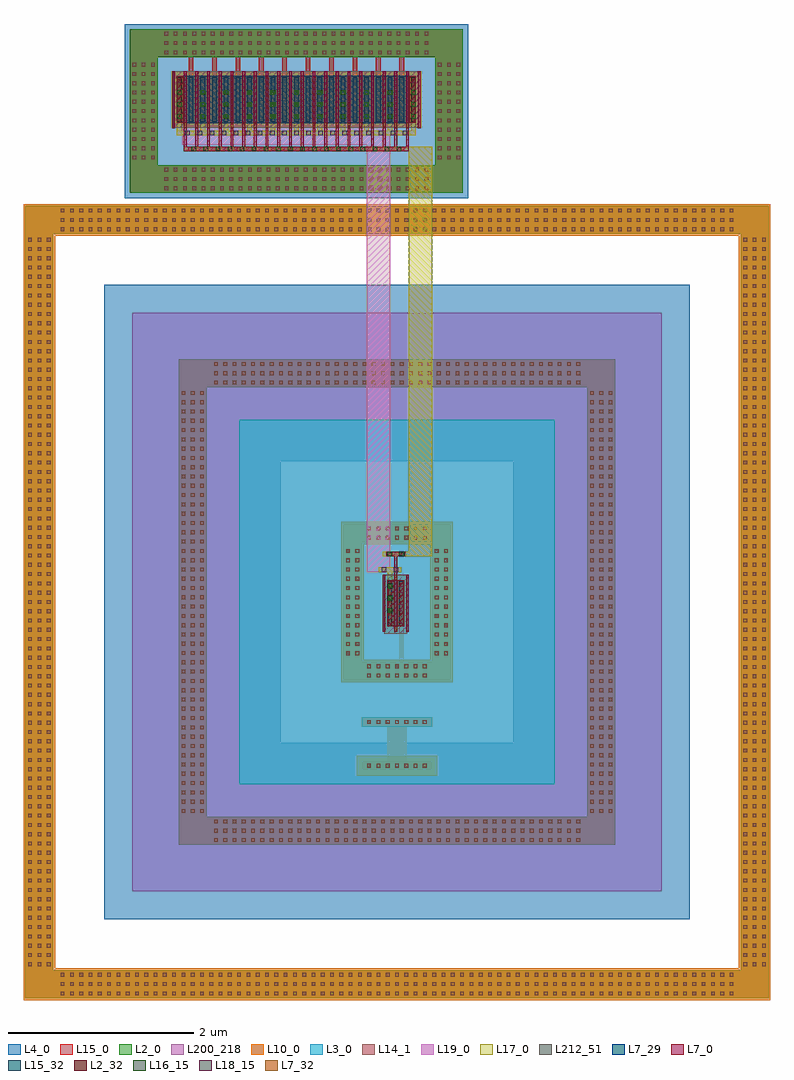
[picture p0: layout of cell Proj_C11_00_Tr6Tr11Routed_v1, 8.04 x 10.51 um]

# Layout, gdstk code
import gdstk
lib = gdstk.Library(unit=1e-6, precision=1e-09)
def R(c, l, rs):  # rectangles x0, y0, x1, y1
    for r in rs: c.add(gdstk.rectangle(r[:2], r[2:], *l))
def A(c, l, x, y, w, h, nx, ny, dx, dy):  # array of equal rectangles
    R(c, l, [(x+i*dx, y+j*dy, x+i*dx+w, y+j*dy+h) for i in range(nx) for j in range(ny)])
L2_0 = (2, 0)
L2_32 = (2, 32)
L3_0 = (3, 0)
L4_0 = (4, 0)
L7_0 = (7, 0)
L7_29 = (7, 29)
L7_32 = (7, 32)
L10_0 = (10, 0)
L14_1 = (14, 1)
L15_0 = (15, 0)
L15_32 = (15, 32)
L16_15 = (16, 15)
L17_0 = (17, 0)
L18_15 = (18, 15)
L19_0 = (19, 0)
L200_218 = (200, 218)
L212_51 = (212, 51)

proj_c11_00_tr6tr11route = lib.new_cell('Proj_C11_00_Tr6Tr11Routed_v1:SRF_Tr11:SRF_Tr11:SRF_Pmos:SRF_Source_ViaM1M2:SRF_ViaM1M2')
R(proj_c11_00_tr6tr11route, L15_0, [(0,-0.292,0.05,0.082)])
A(proj_c11_00_tr6tr11route, L16_15, 0, -0.26, 0.05, 0.05, 1, 3, 0, 0.13)
R(proj_c11_00_tr6tr11route, L17_0, [(0,-0.292,0.05,0.082)])

c_proj_c11_00_tr6tr11route = lib.new_cell('Proj_C11_00_Tr6Tr11Routed_v1:SRF_Tr11:SRF_Tr11:SRF_Pmos:SRF_Source_ViaM1M2')
c_proj_c11_00_tr6tr11route.add(gdstk.Reference(proj_c11_00_tr6tr11route, (-0.025,0.105)))

c_proj_c11_00_tr6tr11route_ = lib.new_cell('Proj_C11_00_Tr6Tr11Routed_v1:SRF_Tr11:SRF_Tr11:SRF_Pmos:SRF_Gate_ViaM0Mx:SRF_ViaM0M1')
R(c_proj_c11_00_tr6tr11route_, L7_0, [(-0.01,-0.004,1.75,0.044)])
A(c_proj_c11_00_tr6tr11route_, L14_1, 0, 0, 0.04, 0.04, 18, 1, 0.1, 0)
R(c_proj_c11_00_tr6tr11route_, L15_0, [(-0.021,-0.005,1.761,0.045)])

c_proj_c11_00_tr6tr11route__ = lib.new_cell('Proj_C11_00_Tr6Tr11Routed_v1:SRF_Tr11:SRF_Tr11:SRF_Pmos:SRF_Gate_ViaM0Mx:SRF_ViaM1M2')
R(c_proj_c11_00_tr6tr11route__, L15_0, [(-0.032,0,2.292,0.05)])
A(c_proj_c11_00_tr6tr11route__, L16_15, 0, 0, 0.05, 0.05, 18, 1, 0.13, 0)
R(c_proj_c11_00_tr6tr11route__, L17_0, [(-0.032,0,2.292,0.05)])

c_proj_c11_00_tr6tr11route___ = lib.new_cell('Proj_C11_00_Tr6Tr11Routed_v1:SRF_Tr11:SRF_Tr11:SRF_Pmos:SRF_Gate_ViaM0Mx')
c_proj_c11_00_tr6tr11route___.add(gdstk.Reference(c_proj_c11_00_tr6tr11route_, (-0.87,-0.02)))
c_proj_c11_00_tr6tr11route___.add(gdstk.Reference(c_proj_c11_00_tr6tr11route__, (-1.13,-0.025)))

c_proj_c11_00_tr6tr11route____ = lib.new_cell('Proj_C11_00_Tr6Tr11Routed_v1:SRF_Tr11:SRF_Tr11:SRF_Pmos')
R(c_proj_c11_00_tr6tr11route____, L2_0, [(-0.076,0.057,2.5,0.557)])
R(c_proj_c11_00_tr6tr11route____, L2_32, [(-0.076,0.057,0,0.557), (2.424,0.057,2.5,0.557)])
A(c_proj_c11_00_tr6tr11route____, L7_0, -0.126, 0, 0.03, 0.614, 22, 1, 0.126, 0)
A(c_proj_c11_00_tr6tr11route____, L7_0, 0, 0.614, 0.03, 0.2, 20, 1, 0.126, 0)
R(c_proj_c11_00_tr6tr11route____, L7_0, [(0,0.814,2.424,0.862)])
R(c_proj_c11_00_tr6tr11route____, L7_29, [(-0.005,0.052,2.429,0.562)])
A(c_proj_c11_00_tr6tr11route____, L7_32, 0, 0.557, 0.03, 0.057, 20, 1, 0.126, 0)
R(c_proj_c11_00_tr6tr11route____, L10_0, [(-0.132,0.001,2.556,0.613)])
A(c_proj_c11_00_tr6tr11route____, L14_1, -0.068, 0.087, 0.04, 0.04, 21, 5, 0.126, 0.1)
R(c_proj_c11_00_tr6tr11route____, L15_0, [(-0.073,0.066,-0.023,0.548), (-0.073,0.066,-0.023,0.548), (0.053,0.066,0.103,0.548), (0.053,0.066,0.103,0.548), (0.179,0.066,0.229,0.548), (0.179,0.066,0.229,0.548), (0.305,0.066,0.355,0.548), (0.305,0.066,0.355,0.548), (0.431,0.066,0.481,0.548), (0.431,0.066,0.481,0.548), (0.557,0.066,0.607,0.548), (0.557,0.066,0.607,0.548), (0.683,0.066,0.733,0.548), (0.683,0.066,0.733,0.548), (0.809,0.066,0.859,0.548), (0.809,0.066,0.859,0.548), (0.935,0.066,0.985,0.548), (0.935,0.066,0.985,0.548), (1.061,0.066,1.111,0.548), (1.061,0.066,1.111,0.548), (1.187,0.066,1.237,0.548), (1.187,0.066,1.237,0.548), (1.313,0.066,1.363,0.548), (1.313,0.066,1.363,0.548), (1.439,0.066,1.489,0.548), (1.439,0.066,1.489,0.548), (1.565,0.066,1.615,0.548), (1.565,0.066,1.615,0.548), (1.691,0.066,1.741,0.548), (1.691,0.066,1.741,0.548), (1.817,0.066,1.867,0.548), (1.817,0.066,1.867,0.548), (1.943,0.066,1.993,0.548), (1.943,0.066,1.993,0.548), (2.069,0.066,2.119,0.548), (2.069,0.066,2.119,0.548), (2.195,0.066,2.245,0.548), (2.195,0.066,2.245,0.548), (2.321,0.066,2.371,0.548), (2.321,0.066,2.371,0.548), (2.447,0.066,2.497,0.548), (2.447,0.066,2.497,0.548)])
A(c_proj_c11_00_tr6tr11route____, L15_32, -0.073, 0.066, 0.05, 0.482, 21, 1, 0.126, 0)
A(c_proj_c11_00_tr6tr11route____, L17_0, -0.073, 0.548, 0.05, 0.095, 11, 1, 0.252, 0)
R(c_proj_c11_00_tr6tr11route____, L17_0, [(-0.073,0.643,2.497,0.693), (0,0.813,2.424,0.863)])
R(c_proj_c11_00_tr6tr11route____, L212_51, [(-0.111,0.001,2.535,0.613)])
c_proj_c11_00_tr6tr11route____.add(gdstk.Reference(c_proj_c11_00_tr6tr11route, (-0.048,0.361)))
c_proj_c11_00_tr6tr11route____.add(gdstk.Reference(c_proj_c11_00_tr6tr11route, (0.204,0.361)))
c_proj_c11_00_tr6tr11route____.add(gdstk.Reference(c_proj_c11_00_tr6tr11route, (0.456,0.361)))
c_proj_c11_00_tr6tr11route____.add(gdstk.Reference(c_proj_c11_00_tr6tr11route, (0.708,0.361)))
c_proj_c11_00_tr6tr11route____.add(gdstk.Reference(c_proj_c11_00_tr6tr11route, (0.96,0.361)))
c_proj_c11_00_tr6tr11route____.add(gdstk.Reference(c_proj_c11_00_tr6tr11route, (1.212,0.361)))
c_proj_c11_00_tr6tr11route____.add(gdstk.Reference(c_proj_c11_00_tr6tr11route, (1.464,0.361)))
c_proj_c11_00_tr6tr11route____.add(gdstk.Reference(c_proj_c11_00_tr6tr11route, (1.716,0.361)))
c_proj_c11_00_tr6tr11route____.add(gdstk.Reference(c_proj_c11_00_tr6tr11route, (1.968,0.361)))
c_proj_c11_00_tr6tr11route____.add(gdstk.Reference(c_proj_c11_00_tr6tr11route, (2.22,0.361)))
c_proj_c11_00_tr6tr11route____.add(gdstk.Reference(c_proj_c11_00_tr6tr11route, (2.472,0.361)))
c_proj_c11_00_tr6tr11route____.add(gdstk.Reference(c_proj_c11_00_tr6tr11route___, (1.212,0.838)))

c_proj_c11_00_tr6tr11route_____ = lib.new_cell('Proj_C11_00_Tr6Tr11Routed_v1:SRF_Tr11:SRF_Tr11:SRF_Source_ViaM2M3:SRF_ViaM2M3')
R(c_proj_c11_00_tr6tr11route_____, L17_0, [(-0.032,0,2.422,0.05)])
A(c_proj_c11_00_tr6tr11route_____, L18_15, 0, 0, 0.05, 0.05, 19, 1, 0.13, 0)
R(c_proj_c11_00_tr6tr11route_____, L19_0, [(-0.032,0,2.422,0.05)])

c_proj_c11_00_tr6tr11route______ = lib.new_cell('Proj_C11_00_Tr6Tr11Routed_v1:SRF_Tr11:SRF_Tr11:SRF_Source_ViaM2M3')
c_proj_c11_00_tr6tr11route______.add(gdstk.Reference(c_proj_c11_00_tr6tr11route_____, (-1.195,-0.025)))

c_proj_c11_00_tr6tr11route_______ = lib.new_cell('Proj_C11_00_Tr6Tr11Routed_v1:SRF_Tr11:SRF_Tr11')
R(c_proj_c11_00_tr6tr11route_______, L19_0, [(-0.073,0.643,2.497,0.693)])
c_proj_c11_00_tr6tr11route_______.add(gdstk.Reference(c_proj_c11_00_tr6tr11route____, (0,0)))
c_proj_c11_00_tr6tr11route_______.add(gdstk.Reference(c_proj_c11_00_tr6tr11route______, (1.212,0.668)))

c_proj_c11_00_tr6tr11route________ = lib.new_cell('Proj_C11_00_Tr6Tr11Routed_v1:SRF_Tr11:_Nbodyring:SRF_NbodyTop:SRF_NbodyContactPhyLen')
R(c_proj_c11_00_tr6tr11route________, L2_0, [(-0.074,-0.23,2.914,0.07)])
R(c_proj_c11_00_tr6tr11route________, L4_0, [(-0.13,-0.286,2.97,0.126)])
A(c_proj_c11_00_tr6tr11route________, L14_1, 0, -0.2, 0.04, 0.04, 29, 3, 0.1, 0.1)
R(c_proj_c11_00_tr6tr11route________, L15_0, [(-0.074,-0.23,2.914,0.07)])

c_proj_c11_00_tr6tr11route_________ = lib.new_cell('Proj_C11_00_Tr6Tr11Routed_v1:SRF_Tr11:_Nbodyring:SRF_NbodyTop')
c_proj_c11_00_tr6tr11route_________.add(gdstk.Reference(c_proj_c11_00_tr6tr11route________, (0,0)))

c_proj_c11_00_tr6tr11route__________ = lib.new_cell('Proj_C11_00_Tr6Tr11Routed_v1:SRF_Tr11:_Nbodyring:SRF_NbodyBottom:SRF_NbodyContactPhyLen')
R(c_proj_c11_00_tr6tr11route__________, L2_0, [(-0.074,-0.23,2.914,0.07)])
R(c_proj_c11_00_tr6tr11route__________, L4_0, [(-0.13,-0.286,2.97,0.126)])
A(c_proj_c11_00_tr6tr11route__________, L14_1, 0, -0.2, 0.04, 0.04, 29, 3, 0.1, 0.1)
R(c_proj_c11_00_tr6tr11route__________, L15_0, [(-0.074,-0.23,2.914,0.07)])

c_proj_c11_00_tr6tr11route___________ = lib.new_cell('Proj_C11_00_Tr6Tr11Routed_v1:SRF_Tr11:_Nbodyring:SRF_NbodyBottom')
c_proj_c11_00_tr6tr11route___________.add(gdstk.Reference(c_proj_c11_00_tr6tr11route__________, (0,0)))

c_proj_c11_00_tr6tr11route____________ = lib.new_cell('Proj_C11_00_Tr6Tr11Routed_v1:SRF_Tr11:_Nbodyring:SRF_NbodyLeft:SRF_NbodyContactPhyLen')
R(c_proj_c11_00_tr6tr11route____________, L2_0, [(-0.03,-1.062,0.27,0.101)])
R(c_proj_c11_00_tr6tr11route____________, L4_0, [(-0.086,-1.118,0.326,0.157)])
A(c_proj_c11_00_tr6tr11route____________, L14_1, 0, -1, 0.04, 0.04, 3, 11, 0.1, 0.1)
R(c_proj_c11_00_tr6tr11route____________, L15_0, [(-0.03,-1.062,0.27,0.101)])

c_proj_c11_00_tr6tr11route_____________ = lib.new_cell('Proj_C11_00_Tr6Tr11Routed_v1:SRF_Tr11:_Nbodyring:SRF_NbodyLeft')
c_proj_c11_00_tr6tr11route_____________.add(gdstk.Reference(c_proj_c11_00_tr6tr11route____________, (0,0)))

c_proj_c11_00_tr6tr11route______________ = lib.new_cell('Proj_C11_00_Tr6Tr11Routed_v1:SRF_Tr11:_Nbodyring:SRF_NbodyRight:SRF_NbodyContactPhyLen')
R(c_proj_c11_00_tr6tr11route______________, L2_0, [(-0.03,-1.062,0.27,0.101)])
R(c_proj_c11_00_tr6tr11route______________, L4_0, [(-0.086,-1.118,0.326,0.157)])
A(c_proj_c11_00_tr6tr11route______________, L14_1, 0, -1, 0.04, 0.04, 3, 11, 0.1, 0.1)
R(c_proj_c11_00_tr6tr11route______________, L15_0, [(-0.03,-1.062,0.27,0.101)])

c_proj_c11_00_tr6tr11route_______________ = lib.new_cell('Proj_C11_00_Tr6Tr11Routed_v1:SRF_Tr11:_Nbodyring:SRF_NbodyRight')
c_proj_c11_00_tr6tr11route_______________.add(gdstk.Reference(c_proj_c11_00_tr6tr11route______________, (0,0)))

c_proj_c11_00_tr6tr11route________________ = lib.new_cell('Proj_C11_00_Tr6Tr11Routed_v1:SRF_Tr11:_Nbodyring')
R(c_proj_c11_00_tr6tr11route________________, L2_0, [(-0.374,-1.693,3.214,-1.393), (-0.374,-1.693,-0.074,0.07), (2.914,-1.693,3.214,0.07), (-0.374,-0.23,3.214,0.07)])
R(c_proj_c11_00_tr6tr11route________________, L4_0, [(-0.43,-1.749,3.27,-1.337), (-0.43,-1.749,-0.018,0.126), (2.858,-1.749,3.27,0.126), (-0.43,-0.286,3.27,0.126)])
R(c_proj_c11_00_tr6tr11route________________, L15_0, [(-0.374,-1.693,3.214,-1.393), (-0.374,-1.693,-0.074,0.07), (2.914,-1.693,3.214,0.07), (-0.374,-0.23,3.214,0.07)])
c_proj_c11_00_tr6tr11route________________.add(gdstk.Reference(c_proj_c11_00_tr6tr11route_________, (0,0)))
c_proj_c11_00_tr6tr11route________________.add(gdstk.Reference(c_proj_c11_00_tr6tr11route___________, (0,-1.463)))
c_proj_c11_00_tr6tr11route________________.add(gdstk.Reference(c_proj_c11_00_tr6tr11route_____________, (-0.344,-0.331)))
c_proj_c11_00_tr6tr11route________________.add(gdstk.Reference(c_proj_c11_00_tr6tr11route_______________, (2.944,-0.331)))

c_proj_c11_00_tr6tr11route_________________ = lib.new_cell('Proj_C11_00_Tr6Tr11Routed_v1:SRF_Tr11')
R(c_proj_c11_00_tr6tr11route_________________, L4_0, [(-0.638,-0.506,3.062,1.369)])
A(c_proj_c11_00_tr6tr11route_________________, L15_0, 0.053, -0.15, 0.05, 0.216, 10, 1, 0.252, 0)
c_proj_c11_00_tr6tr11route_________________.add(gdstk.Reference(c_proj_c11_00_tr6tr11route_______, (0,0)))
c_proj_c11_00_tr6tr11route_________________.add(gdstk.Reference(c_proj_c11_00_tr6tr11route________________, (-0.208,1.243)))

c_proj_c11_00_tr6tr11route__________________ = lib.new_cell('Proj_C11_00_Tr6Tr11Routed_v1:SRF_Tr6:SRF_Tr6:SRF_Nmos:SRF_Source_ViaM1M2:SRF_ViaM1M2')
R(c_proj_c11_00_tr6tr11route__________________, L15_0, [(0,-0.292,0.05,0.082)])
A(c_proj_c11_00_tr6tr11route__________________, L16_15, 0, -0.26, 0.05, 0.05, 1, 3, 0, 0.13)
R(c_proj_c11_00_tr6tr11route__________________, L17_0, [(0,-0.292,0.05,0.082)])

c_proj_c11_00_tr6tr11route___________________ = lib.new_cell('Proj_C11_00_Tr6Tr11Routed_v1:SRF_Tr6:SRF_Tr6:SRF_Nmos:SRF_Source_ViaM1M2')
c_proj_c11_00_tr6tr11route___________________.add(gdstk.Reference(c_proj_c11_00_tr6tr11route__________________, (-0.025,0.105)))

c_proj_c11_00_tr6tr11route____________________ = lib.new_cell('Proj_C11_00_Tr6Tr11Routed_v1:SRF_Tr6:SRF_Tr6:SRF_Nmos:SRF_Gate_ViaM0Mx:SRF_ViaM0M1')
R(c_proj_c11_00_tr6tr11route____________________, L7_0, [(-0.01,-0.004,0.15,0.044)])
R(c_proj_c11_00_tr6tr11route____________________, L14_1, [(0,0,0.04,0.04), (0.1,0,0.14,0.04)])
R(c_proj_c11_00_tr6tr11route____________________, L15_0, [(-0.021,-0.005,0.161,0.045)])

c_proj_c11_00_tr6tr11route_____________________ = lib.new_cell('Proj_C11_00_Tr6Tr11Routed_v1:SRF_Tr6:SRF_Tr6:SRF_Nmos:SRF_Gate_ViaM0Mx:SRF_ViaM1M2')
R(c_proj_c11_00_tr6tr11route_____________________, L15_0, [(-0.032,0,0.212,0.05)])
R(c_proj_c11_00_tr6tr11route_____________________, L16_15, [(0,0,0.05,0.05), (0.13,0,0.18,0.05)])
R(c_proj_c11_00_tr6tr11route_____________________, L17_0, [(-0.032,0,0.212,0.05)])

c_proj_c11_00_tr6tr11route______________________ = lib.new_cell('Proj_C11_00_Tr6Tr11Routed_v1:SRF_Tr6:SRF_Tr6:SRF_Nmos:SRF_Gate_ViaM0Mx')
c_proj_c11_00_tr6tr11route______________________.add(gdstk.Reference(c_proj_c11_00_tr6tr11route____________________, (-0.07,-0.02)))
c_proj_c11_00_tr6tr11route______________________.add(gdstk.Reference(c_proj_c11_00_tr6tr11route_____________________, (-0.09,-0.025)))

c_proj_c11_00_tr6tr11route_______________________ = lib.new_cell('Proj_C11_00_Tr6Tr11Routed_v1:SRF_Tr6:SRF_Tr6:SRF_Nmos')
R(c_proj_c11_00_tr6tr11route_______________________, L2_0, [(-0.076,0.057,0.106,0.557)])
R(c_proj_c11_00_tr6tr11route_______________________, L2_32, [(-0.076,0.057,0,0.557), (0.03,0.057,0.106,0.557)])
A(c_proj_c11_00_tr6tr11route_______________________, L7_0, -0.126, 0, 0.03, 0.614, 3, 1, 0.126, 0)
R(c_proj_c11_00_tr6tr11route_______________________, L7_0, [(0,0.614,0.03,0.814), (-0.085,0.814,0.115,0.862)])
R(c_proj_c11_00_tr6tr11route_______________________, L7_29, [(-0.005,0.052,0.035,0.562)])
R(c_proj_c11_00_tr6tr11route_______________________, L7_32, [(0,0,0.03,0.057), (0,0.557,0.03,0.614)])
A(c_proj_c11_00_tr6tr11route_______________________, L14_1, -0.068, 0.087, 0.04, 0.04, 1, 5, 0, 0.1)
A(c_proj_c11_00_tr6tr11route_______________________, L14_1, 0.058, 0.087, 0.04, 0.04, 1, 5, 0, 0.1)
R(c_proj_c11_00_tr6tr11route_______________________, L15_0, [(-0.073,0.066,-0.023,0.548), (-0.073,0.066,-0.023,0.548), (0.053,0.066,0.103,0.548), (0.053,0.066,0.103,0.548)])
R(c_proj_c11_00_tr6tr11route_______________________, L15_32, [(-0.073,0.066,-0.023,0.548), (0.053,0.066,0.103,0.548)])
R(c_proj_c11_00_tr6tr11route_______________________, L17_0, [(-0.073,0.548,-0.023,0.643), (-0.073,0.643,-0.023,0.693), (-0.127,0.813,0.157,0.863)])
R(c_proj_c11_00_tr6tr11route_______________________, L212_51, [(-0.111,-0.022,0.141,0.613)])
c_proj_c11_00_tr6tr11route_______________________.add(gdstk.Reference(c_proj_c11_00_tr6tr11route___________________, (-0.048,0.361)))
c_proj_c11_00_tr6tr11route_______________________.add(gdstk.Reference(c_proj_c11_00_tr6tr11route______________________, (0.015,0.838)))

c_proj_c11_00_tr6tr11route________________________ = lib.new_cell('Proj_C11_00_Tr6Tr11Routed_v1:SRF_Tr6:SRF_Tr6:SRF_Source_ViaM2M3:SRF_ViaM2M3')
R(c_proj_c11_00_tr6tr11route________________________, L17_0, [(-0.032,0,0.212,0.05)])
R(c_proj_c11_00_tr6tr11route________________________, L18_15, [(0,0,0.05,0.05), (0.13,0,0.18,0.05)])
R(c_proj_c11_00_tr6tr11route________________________, L19_0, [(-0.032,0,0.212,0.05)])

c_proj_c11_00_tr6tr11route_________________________ = lib.new_cell('Proj_C11_00_Tr6Tr11Routed_v1:SRF_Tr6:SRF_Tr6:SRF_Source_ViaM2M3')
c_proj_c11_00_tr6tr11route_________________________.add(gdstk.Reference(c_proj_c11_00_tr6tr11route________________________, (-0.09,-0.025)))

c_proj_c11_00_tr6tr11route__________________________ = lib.new_cell('Proj_C11_00_Tr6Tr11Routed_v1:SRF_Tr6:SRF_Tr6')
R(c_proj_c11_00_tr6tr11route__________________________, L19_0, [(-0.073,0.643,-0.023,0.693)])
c_proj_c11_00_tr6tr11route__________________________.add(gdstk.Reference(c_proj_c11_00_tr6tr11route_______________________, (0,0)))
c_proj_c11_00_tr6tr11route__________________________.add(gdstk.Reference(c_proj_c11_00_tr6tr11route_________________________, (-0.048,0.668)))

c_proj_c11_00_tr6tr11route___________________________ = lib.new_cell('Proj_C11_00_Tr6Tr11Routed_v1:SRF_Tr6:SRF_Pbodyring:SRF_PbodyTop:SRF_PbodyContactPhyLen')
R(c_proj_c11_00_tr6tr11route___________________________, L2_0, [(-0.058,-0.13,0.699,0.07)])
R(c_proj_c11_00_tr6tr11route___________________________, L10_0, [(-0.08,-0.151,0.719,0.091)])
A(c_proj_c11_00_tr6tr11route___________________________, L14_1, 0, -0.1, 0.04, 0.04, 7, 2, 0.1, 0.1)
R(c_proj_c11_00_tr6tr11route___________________________, L15_0, [(-0.058,-0.13,0.699,0.07)])

c_proj_c11_00_tr6tr11route____________________________ = lib.new_cell('Proj_C11_00_Tr6Tr11Routed_v1:SRF_Tr6:SRF_Pbodyring:SRF_PbodyTop')
c_proj_c11_00_tr6tr11route____________________________.add(gdstk.Reference(c_proj_c11_00_tr6tr11route___________________________, (0,0)))

c_proj_c11_00_tr6tr11route_____________________________ = lib.new_cell('Proj_C11_00_Tr6Tr11Routed_v1:SRF_Tr6:SRF_Pbodyring:SRF_PbodyBottom:SRF_PbodyContactPhyLen')
R(c_proj_c11_00_tr6tr11route_____________________________, L2_0, [(-0.058,-0.13,0.699,0.07)])
R(c_proj_c11_00_tr6tr11route_____________________________, L10_0, [(-0.08,-0.151,0.719,0.091)])
A(c_proj_c11_00_tr6tr11route_____________________________, L14_1, 0, -0.1, 0.04, 0.04, 7, 2, 0.1, 0.1)
R(c_proj_c11_00_tr6tr11route_____________________________, L15_0, [(-0.058,-0.13,0.699,0.07)])

c_proj_c11_00_tr6tr11route______________________________ = lib.new_cell('Proj_C11_00_Tr6Tr11Routed_v1:SRF_Tr6:SRF_Pbodyring:SRF_PbodyBottom')
c_proj_c11_00_tr6tr11route______________________________.add(gdstk.Reference(c_proj_c11_00_tr6tr11route_____________________________, (0,0)))

c_proj_c11_00_tr6tr11route_______________________________ = lib.new_cell('Proj_C11_00_Tr6Tr11Routed_v1:SRF_Tr6:SRF_Pbodyring:SRF_PbodyLeft:SRF_PbodyContactPhyLen')
R(c_proj_c11_00_tr6tr11route_______________________________, L2_0, [(-0.03,-1.172,0.17,0.113)])
R(c_proj_c11_00_tr6tr11route_______________________________, L10_0, [(-0.051,-1.194,0.191,0.133)])
A(c_proj_c11_00_tr6tr11route_______________________________, L14_1, 0, -1.1, 0.04, 0.04, 1, 12, 0, 0.1)
A(c_proj_c11_00_tr6tr11route_______________________________, L14_1, 0.1, -1.1, 0.04, 0.04, 1, 12, 0, 0.1)
R(c_proj_c11_00_tr6tr11route_______________________________, L15_0, [(-0.03,-1.172,0.17,0.113)])

c_proj_c11_00_tr6tr11route________________________________ = lib.new_cell('Proj_C11_00_Tr6Tr11Routed_v1:SRF_Tr6:SRF_Pbodyring:SRF_PbodyLeft')
c_proj_c11_00_tr6tr11route________________________________.add(gdstk.Reference(c_proj_c11_00_tr6tr11route_______________________________, (0,0)))

c_proj_c11_00_tr6tr11route_________________________________ = lib.new_cell('Proj_C11_00_Tr6Tr11Routed_v1:SRF_Tr6:SRF_Pbodyring:SRF_PbodyRight:SRF_PbodyContactPhyLen')
R(c_proj_c11_00_tr6tr11route_________________________________, L2_0, [(-0.03,-1.172,0.17,0.113)])
R(c_proj_c11_00_tr6tr11route_________________________________, L10_0, [(-0.051,-1.194,0.191,0.133)])
A(c_proj_c11_00_tr6tr11route_________________________________, L14_1, 0, -1.1, 0.04, 0.04, 1, 12, 0, 0.1)
A(c_proj_c11_00_tr6tr11route_________________________________, L14_1, 0.1, -1.1, 0.04, 0.04, 1, 12, 0, 0.1)
R(c_proj_c11_00_tr6tr11route_________________________________, L15_0, [(-0.03,-1.172,0.17,0.113)])

c_proj_c11_00_tr6tr11route__________________________________ = lib.new_cell('Proj_C11_00_Tr6Tr11Routed_v1:SRF_Tr6:SRF_Pbodyring:SRF_PbodyRight')
c_proj_c11_00_tr6tr11route__________________________________.add(gdstk.Reference(c_proj_c11_00_tr6tr11route_________________________________, (0,0)))

c_proj_c11_00_tr6tr11route___________________________________ = lib.new_cell('Proj_C11_00_Tr6Tr11Routed_v1:SRF_Tr6:SRF_Pbodyring')
R(c_proj_c11_00_tr6tr11route___________________________________, L2_0, [(-0.258,-1.615,0.899,-1.415), (-0.258,-1.615,-0.058,0.07), (0.699,-1.615,0.899,0.07), (-0.258,-0.13,0.899,0.07)])
R(c_proj_c11_00_tr6tr11route___________________________________, L10_0, [(-0.279,-1.636,0.92,-1.394), (-0.279,-1.636,-0.037,0.091), (0.678,-1.636,0.92,0.091), (-0.279,-0.151,0.92,0.091)])
R(c_proj_c11_00_tr6tr11route___________________________________, L15_0, [(-0.258,-1.615,0.899,-1.415), (-0.258,-1.615,-0.058,0.07), (0.699,-1.615,0.899,0.07), (-0.258,-0.13,0.899,0.07)])
c_proj_c11_00_tr6tr11route___________________________________.add(gdstk.Reference(c_proj_c11_00_tr6tr11route____________________________, (0,0)))
c_proj_c11_00_tr6tr11route___________________________________.add(gdstk.Reference(c_proj_c11_00_tr6tr11route______________________________, (0,-1.485)))
c_proj_c11_00_tr6tr11route___________________________________.add(gdstk.Reference(c_proj_c11_00_tr6tr11route________________________________, (-0.228,-0.243)))
c_proj_c11_00_tr6tr11route___________________________________.add(gdstk.Reference(c_proj_c11_00_tr6tr11route__________________________________, (0.729,-0.243)))

c_proj_c11_00_tr6tr11route____________________________________ = lib.new_cell('Proj_C11_00_Tr6Tr11Routed_v1:SRF_Tr6:SRF_Nbody_withinPIsolated:SRF_NbodyContactPhyLen')
R(c_proj_c11_00_tr6tr11route____________________________________, L2_0, [(-0.058,-0.03,0.699,0.07)])
A(c_proj_c11_00_tr6tr11route____________________________________, L14_1, 0, 0, 0.04, 0.04, 7, 1, 0.1, 0)
R(c_proj_c11_00_tr6tr11route____________________________________, L15_0, [(-0.058,-0.03,0.699,0.07)])

c_proj_c11_00_tr6tr11route_____________________________________ = lib.new_cell('Proj_C11_00_Tr6Tr11Routed_v1:SRF_Tr6:SRF_Nbody_withinPIsolated')
c_proj_c11_00_tr6tr11route_____________________________________.add(gdstk.Reference(c_proj_c11_00_tr6tr11route____________________________________, (0,0)))

c_proj_c11_00_tr6tr11route______________________________________ = lib.new_cell('Proj_C11_00_Tr6Tr11Routed_v1:SRF_Tr6:SRF_Nbodyring:SRF_NbodyTop:SRF_NbodyContactPhyLen')
R(c_proj_c11_00_tr6tr11route______________________________________, L2_0, [(-0.08,-0.23,4.019,0.07)])
R(c_proj_c11_00_tr6tr11route______________________________________, L4_0, [(-0.88,-1.03,4.819,0.87)])
A(c_proj_c11_00_tr6tr11route______________________________________, L14_1, 0, -0.2, 0.04, 0.04, 40, 3, 0.1, 0.1)
R(c_proj_c11_00_tr6tr11route______________________________________, L15_0, [(-0.08,-0.23,4.019,0.07)])

c_proj_c11_00_tr6tr11route_______________________________________ = lib.new_cell('Proj_C11_00_Tr6Tr11Routed_v1:SRF_Tr6:SRF_Nbodyring:SRF_NbodyTop')
c_proj_c11_00_tr6tr11route_______________________________________.add(gdstk.Reference(c_proj_c11_00_tr6tr11route______________________________________, (0,0)))

c_proj_c11_00_tr6tr11route________________________________________ = lib.new_cell('Proj_C11_00_Tr6Tr11Routed_v1:SRF_Tr6:SRF_Nbodyring:SRF_NbodyBottom:SRF_NbodyContactPhyLen')
R(c_proj_c11_00_tr6tr11route________________________________________, L2_0, [(-0.08,-0.23,4.019,0.07)])
R(c_proj_c11_00_tr6tr11route________________________________________, L4_0, [(-0.88,-1.03,4.819,0.87)])
A(c_proj_c11_00_tr6tr11route________________________________________, L14_1, 0, -0.2, 0.04, 0.04, 40, 3, 0.1, 0.1)
R(c_proj_c11_00_tr6tr11route________________________________________, L15_0, [(-0.08,-0.23,4.019,0.07)])

c_proj_c11_00_tr6tr11route_________________________________________ = lib.new_cell('Proj_C11_00_Tr6Tr11Routed_v1:SRF_Tr6:SRF_Nbodyring:SRF_NbodyBottom')
c_proj_c11_00_tr6tr11route_________________________________________.add(gdstk.Reference(c_proj_c11_00_tr6tr11route________________________________________, (0,0)))

c_proj_c11_00_tr6tr11route__________________________________________ = lib.new_cell('Proj_C11_00_Tr6Tr11Routed_v1:SRF_Tr6:SRF_Nbodyring:SRF_NbodyLeft:SRF_NbodyContactPhyLen')
R(c_proj_c11_00_tr6tr11route__________________________________________, L2_0, [(-0.03,-4.544,0.27,0.083)])
R(c_proj_c11_00_tr6tr11route__________________________________________, L4_0, [(-0.83,-5.344,1.07,0.883)])
A(c_proj_c11_00_tr6tr11route__________________________________________, L14_1, 0, -4.5, 0.04, 0.04, 3, 46, 0.1, 0.1)
R(c_proj_c11_00_tr6tr11route__________________________________________, L15_0, [(-0.03,-4.544,0.27,0.083)])

c_proj_c11_00_tr6tr11route___________________________________________ = lib.new_cell('Proj_C11_00_Tr6Tr11Routed_v1:SRF_Tr6:SRF_Nbodyring:SRF_NbodyLeft')
c_proj_c11_00_tr6tr11route___________________________________________.add(gdstk.Reference(c_proj_c11_00_tr6tr11route__________________________________________, (0,0)))

c_proj_c11_00_tr6tr11route____________________________________________ = lib.new_cell('Proj_C11_00_Tr6Tr11Routed_v1:SRF_Tr6:SRF_Nbodyring:SRF_NbodyRight:SRF_NbodyContactPhyLen')
R(c_proj_c11_00_tr6tr11route____________________________________________, L2_0, [(-0.03,-4.544,0.27,0.083)])
R(c_proj_c11_00_tr6tr11route____________________________________________, L4_0, [(-0.83,-5.344,1.07,0.883)])
A(c_proj_c11_00_tr6tr11route____________________________________________, L14_1, 0, -4.5, 0.04, 0.04, 3, 46, 0.1, 0.1)
R(c_proj_c11_00_tr6tr11route____________________________________________, L15_0, [(-0.03,-4.544,0.27,0.083)])

c_proj_c11_00_tr6tr11route_____________________________________________ = lib.new_cell('Proj_C11_00_Tr6Tr11Routed_v1:SRF_Tr6:SRF_Nbodyring:SRF_NbodyRight')
c_proj_c11_00_tr6tr11route_____________________________________________.add(gdstk.Reference(c_proj_c11_00_tr6tr11route____________________________________________, (0,0)))

c_proj_c11_00_tr6tr11route______________________________________________ = lib.new_cell('Proj_C11_00_Tr6Tr11Routed_v1:SRF_Tr6:SRF_Nbodyring')
R(c_proj_c11_00_tr6tr11route______________________________________________, L2_0, [(-0.38,-5.157,4.319,-4.857), (-0.38,-5.157,-0.08,0.07), (4.019,-5.157,4.319,0.07), (-0.38,-0.23,4.319,0.07)])
R(c_proj_c11_00_tr6tr11route______________________________________________, L4_0, [(-1.18,-5.957,5.119,-4.057), (-1.18,-5.957,0.72,0.87), (3.219,-5.957,5.119,0.87), (-1.18,-1.03,5.119,0.87)])
R(c_proj_c11_00_tr6tr11route______________________________________________, L15_0, [(-0.38,-5.157,4.319,-4.857), (-0.38,-5.157,-0.08,0.07), (4.019,-5.157,4.319,0.07), (-0.38,-0.23,4.319,0.07)])
c_proj_c11_00_tr6tr11route______________________________________________.add(gdstk.Reference(c_proj_c11_00_tr6tr11route_______________________________________, (0,0)))
c_proj_c11_00_tr6tr11route______________________________________________.add(gdstk.Reference(c_proj_c11_00_tr6tr11route_________________________________________, (0,-4.927)))
c_proj_c11_00_tr6tr11route______________________________________________.add(gdstk.Reference(c_proj_c11_00_tr6tr11route___________________________________________, (-0.35,-0.313)))
c_proj_c11_00_tr6tr11route______________________________________________.add(gdstk.Reference(c_proj_c11_00_tr6tr11route_____________________________________________, (4.049,-0.313)))

c_proj_c11_00_tr6tr11route_______________________________________________ = lib.new_cell('Proj_C11_00_Tr6Tr11Routed_v1:SRF_Tr6:SRF_Pbody_withinNW:SRF_PbodyContactPhyLen')
R(c_proj_c11_00_tr6tr11route_______________________________________________, L2_0, [(-0.058,-0.03,0.699,0.07)])
R(c_proj_c11_00_tr6tr11route_______________________________________________, L10_0, [(-0.08,-0.065,0.719,0.105)])
A(c_proj_c11_00_tr6tr11route_______________________________________________, L14_1, 0, 0, 0.04, 0.04, 7, 1, 0.1, 0)
R(c_proj_c11_00_tr6tr11route_______________________________________________, L15_0, [(-0.058,-0.03,0.699,0.07)])

c_proj_c11_00_tr6tr11route________________________________________________ = lib.new_cell('Proj_C11_00_Tr6Tr11Routed_v1:SRF_Tr6:SRF_Pbody_withinNW')
c_proj_c11_00_tr6tr11route________________________________________________.add(gdstk.Reference(c_proj_c11_00_tr6tr11route_______________________________________________, (0,0)))

c_proj_c11_00_tr6tr11route_________________________________________________ = lib.new_cell('Proj_C11_00_Tr6Tr11Routed_v1:SRF_Tr6:SRF_Pbodyring2:SRF_PbodyTop:SRF_PbodyContactPhyLen')
R(c_proj_c11_00_tr6tr11route_________________________________________________, L2_0, [(-0.08,-0.23,7.319,0.07)])
R(c_proj_c11_00_tr6tr11route_________________________________________________, L10_0, [(-0.1,-0.251,7.341,0.091)])
A(c_proj_c11_00_tr6tr11route_________________________________________________, L14_1, 0, -0.2, 0.04, 0.04, 73, 3, 0.1, 0.1)
R(c_proj_c11_00_tr6tr11route_________________________________________________, L15_0, [(-0.08,-0.23,7.319,0.07)])

c_proj_c11_00_tr6tr11route__________________________________________________ = lib.new_cell('Proj_C11_00_Tr6Tr11Routed_v1:SRF_Tr6:SRF_Pbodyring2:SRF_PbodyTop')
c_proj_c11_00_tr6tr11route__________________________________________________.add(gdstk.Reference(c_proj_c11_00_tr6tr11route_________________________________________________, (0,0)))

c_proj_c11_00_tr6tr11route___________________________________________________ = lib.new_cell('Proj_C11_00_Tr6Tr11Routed_v1:SRF_Tr6:SRF_Pbodyring2:SRF_PbodyBottom:SRF_PbodyContactPhyLen')
R(c_proj_c11_00_tr6tr11route___________________________________________________, L2_0, [(-0.08,-0.23,7.319,0.07)])
R(c_proj_c11_00_tr6tr11route___________________________________________________, L10_0, [(-0.1,-0.251,7.341,0.091)])
A(c_proj_c11_00_tr6tr11route___________________________________________________, L14_1, 0, -0.2, 0.04, 0.04, 73, 3, 0.1, 0.1)
R(c_proj_c11_00_tr6tr11route___________________________________________________, L15_0, [(-0.08,-0.23,7.319,0.07)])

c_proj_c11_00_tr6tr11route____________________________________________________ = lib.new_cell('Proj_C11_00_Tr6Tr11Routed_v1:SRF_Tr6:SRF_Pbodyring2:SRF_PbodyBottom')
c_proj_c11_00_tr6tr11route____________________________________________________.add(gdstk.Reference(c_proj_c11_00_tr6tr11route___________________________________________________, (0,0)))

c_proj_c11_00_tr6tr11route_____________________________________________________ = lib.new_cell('Proj_C11_00_Tr6Tr11Routed_v1:SRF_Tr6:SRF_Pbodyring2:SRF_PbodyLeft:SRF_PbodyContactPhyLen')
R(c_proj_c11_00_tr6tr11route_____________________________________________________, L2_0, [(-0.03,-7.844,0.27,0.083)])
R(c_proj_c11_00_tr6tr11route_____________________________________________________, L10_0, [(-0.051,-7.864,0.291,0.105)])
A(c_proj_c11_00_tr6tr11route_____________________________________________________, L14_1, 0, -7.8, 0.04, 0.04, 3, 79, 0.1, 0.1)
R(c_proj_c11_00_tr6tr11route_____________________________________________________, L15_0, [(-0.03,-7.844,0.27,0.083)])

c_proj_c11_00_tr6tr11route______________________________________________________ = lib.new_cell('Proj_C11_00_Tr6Tr11Routed_v1:SRF_Tr6:SRF_Pbodyring2:SRF_PbodyLeft')
c_proj_c11_00_tr6tr11route______________________________________________________.add(gdstk.Reference(c_proj_c11_00_tr6tr11route_____________________________________________________, (0,0)))

c_proj_c11_00_tr6tr11route_______________________________________________________ = lib.new_cell('Proj_C11_00_Tr6Tr11Routed_v1:SRF_Tr6:SRF_Pbodyring2:SRF_PbodyRight:SRF_PbodyContactPhyLen')
R(c_proj_c11_00_tr6tr11route_______________________________________________________, L2_0, [(-0.03,-7.844,0.27,0.083)])
R(c_proj_c11_00_tr6tr11route_______________________________________________________, L10_0, [(-0.051,-7.864,0.291,0.105)])
A(c_proj_c11_00_tr6tr11route_______________________________________________________, L14_1, 0, -7.8, 0.04, 0.04, 3, 79, 0.1, 0.1)
R(c_proj_c11_00_tr6tr11route_______________________________________________________, L15_0, [(-0.03,-7.844,0.27,0.083)])

c_proj_c11_00_tr6tr11route________________________________________________________ = lib.new_cell('Proj_C11_00_Tr6Tr11Routed_v1:SRF_Tr6:SRF_Pbodyring2:SRF_PbodyRight')
c_proj_c11_00_tr6tr11route________________________________________________________.add(gdstk.Reference(c_proj_c11_00_tr6tr11route_______________________________________________________, (0,0)))

c_proj_c11_00_tr6tr11route_________________________________________________________ = lib.new_cell('Proj_C11_00_Tr6Tr11Routed_v1:SRF_Tr6:SRF_Pbodyring2')
R(c_proj_c11_00_tr6tr11route_________________________________________________________, L2_0, [(-0.38,-8.457,7.619,-8.157), (-0.38,-8.457,-0.08,0.07), (7.319,-8.457,7.619,0.07), (-0.38,-0.23,7.619,0.07)])
R(c_proj_c11_00_tr6tr11route_________________________________________________________, L10_0, [(-0.401,-8.478,7.64,-8.136), (-0.401,-8.478,-0.059,0.091), (7.298,-8.478,7.64,0.091), (-0.401,-0.251,7.64,0.091)])
R(c_proj_c11_00_tr6tr11route_________________________________________________________, L15_0, [(-0.38,-8.457,7.619,-8.157), (-0.38,-8.457,-0.08,0.07), (7.319,-8.457,7.619,0.07), (-0.38,-0.23,7.619,0.07)])
c_proj_c11_00_tr6tr11route_________________________________________________________.add(gdstk.Reference(c_proj_c11_00_tr6tr11route__________________________________________________, (0,0)))
c_proj_c11_00_tr6tr11route_________________________________________________________.add(gdstk.Reference(c_proj_c11_00_tr6tr11route____________________________________________________, (0,-8.227)))
c_proj_c11_00_tr6tr11route_________________________________________________________.add(gdstk.Reference(c_proj_c11_00_tr6tr11route______________________________________________________, (-0.35,-0.313)))
c_proj_c11_00_tr6tr11route_________________________________________________________.add(gdstk.Reference(c_proj_c11_00_tr6tr11route________________________________________________________, (7.349,-0.313)))

c_proj_c11_00_tr6tr11route__________________________________________________________ = lib.new_cell('Proj_C11_00_Tr6Tr11Routed_v1:SRF_Tr6')
R(c_proj_c11_00_tr6tr11route__________________________________________________________, L3_0, [(-1.671,-1.643,1.728,2.284)])
R(c_proj_c11_00_tr6tr11route__________________________________________________________, L10_0, [(-0.406,-1.549,0.463,-1.337)])
R(c_proj_c11_00_tr6tr11route__________________________________________________________, L15_0, [(-0.072,-1.493,0.128,-0.922), (0.053,-0.322,0.103,0.066)])
R(c_proj_c11_00_tr6tr11route__________________________________________________________, L200_218, [(-2.821,-2.793,2.878,3.434)])
c_proj_c11_00_tr6tr11route__________________________________________________________.add(gdstk.Reference(c_proj_c11_00_tr6tr11route__________________________, (0,0)))
c_proj_c11_00_tr6tr11route__________________________________________________________.add(gdstk.Reference(c_proj_c11_00_tr6tr11route___________________________________, (-0.292,1.093)))
c_proj_c11_00_tr6tr11route__________________________________________________________.add(gdstk.Reference(c_proj_c11_00_tr6tr11route_____________________________________, (-0.292,-0.992)))
c_proj_c11_00_tr6tr11route__________________________________________________________.add(gdstk.Reference(c_proj_c11_00_tr6tr11route______________________________________________, (-1.941,2.864)))
c_proj_c11_00_tr6tr11route__________________________________________________________.add(gdstk.Reference(c_proj_c11_00_tr6tr11route________________________________________________, (-0.292,-1.463)))
c_proj_c11_00_tr6tr11route__________________________________________________________.add(gdstk.Reference(c_proj_c11_00_tr6tr11route_________________________________________________________, (-3.591,4.514)))

c_proj_c11_00_tr6tr11route___________________________________________________________ = lib.new_cell('Proj_C11_00_Tr6Tr11Routed_v1')
R(c_proj_c11_00_tr6tr11route___________________________________________________________, L17_0, [(2.424,-5.224,2.674,-0.813)])
c_proj_c11_00_tr6tr11route___________________________________________________________.add(gdstk.FlexPath([(-0.015,-0.668),(2.222,-0.668)], 0.25, ends="flush", simple_path=True, layer=19, datatype=0))  # L19_0
c_proj_c11_00_tr6tr11route___________________________________________________________.add(gdstk.FlexPath([(2.097,-0.543),(2.097,-5.394)], 0.25, ends="flush", simple_path=True, layer=19, datatype=0))  # L19_0
c_proj_c11_00_tr6tr11route___________________________________________________________.add(gdstk.Reference(c_proj_c11_00_tr6tr11route_________________, (0,0), x_reflection=True))
c_proj_c11_00_tr6tr11route___________________________________________________________.add(gdstk.Reference(c_proj_c11_00_tr6tr11route__________________________________________________________, (2.267,-6.037)))

lib.write_gds('Proj_C11_00_Tr6Tr11Routed_v1.gds')
